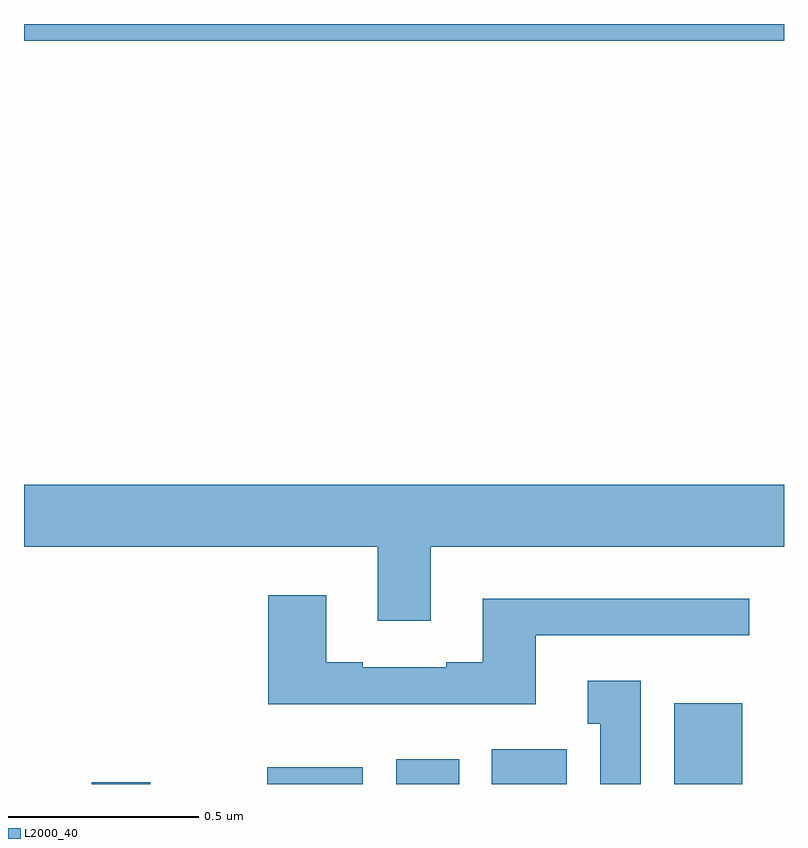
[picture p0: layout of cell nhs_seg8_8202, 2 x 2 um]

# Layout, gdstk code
import gdstk
lib = gdstk.Library(unit=1e-6, precision=1e-09)
def R(c, l, rs):  # rectangles x0, y0, x1, y1
    for r in rs: c.add(gdstk.rectangle(r[:2], r[2:], *l))
def P(c, l, *ps):  # polygons
    for p in ps: c.add(gdstk.Polygon(p, *l))
L2000_40 = (2000, 40)

nhs_seg8_8202 = lib.new_cell('nhs_seg8_8202')
R(nhs_seg8_8202, L2000_40, [(220.178,1091.9,220.332,1091.905), (220.64,1091.9,220.891,1091.944), (220.979,1091.9,221.146,1091.965), (221.231,1091.9,221.428,1091.992), (221.711,1091.9,221.89,1092.112), (220,1093.856,222,1093.9)])
P(nhs_seg8_8202, L2000_40, [(221.071,1092.524),(222,1092.524),(222,1092.688),(220,1092.688),(220,1092.524),(220.931,1092.524),(220.931,1092.33),(221.071,1092.33)],
  [(221.347,1092.291),(221.908,1092.291),(221.908,1092.388),(221.207,1092.388),(221.207,1092.22),(221.111,1092.22),(221.111,1092.207),(220.891,1092.207),(220.891,1092.22),(220.795,1092.22),(220.795,1092.397),(220.643,1092.397),(220.643,1092.11),(221.347,1092.11)],
  [(221.623,1092.172),(221.483,1092.172),(221.483,1092.059),(221.516,1092.059),(221.516,1091.9),(221.623,1091.9)])

lib.write_gds('nhs_seg8_8202.gds')
